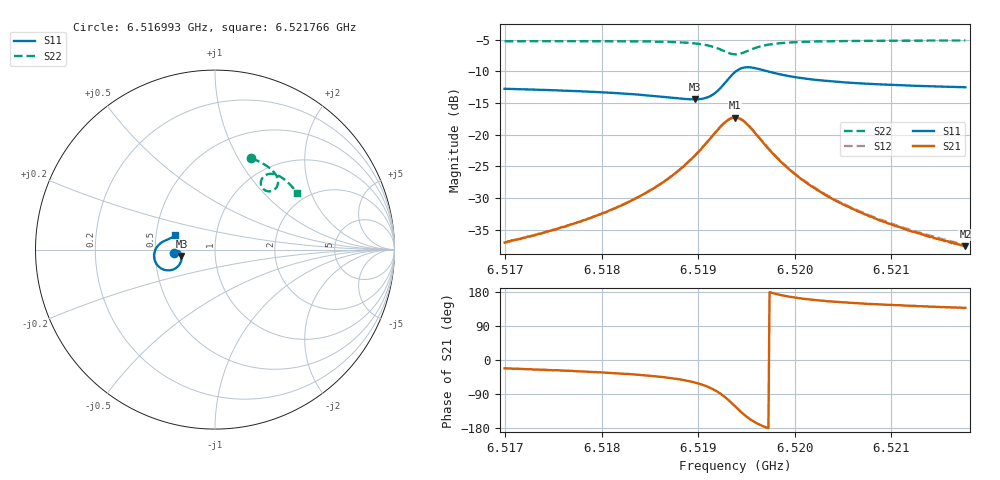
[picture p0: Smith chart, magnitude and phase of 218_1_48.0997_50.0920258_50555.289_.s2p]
#  HZ  S  RI  R  50.00
! Rohde & Schwarz Vector Network Analyzer
! Rohde-Schwarz,ZNB20-2Port,1311601062101988,3.16
! Created: UTC 12/23/2023, 3:56:27 AM
! freq[Hz]  re:S11  im:S11  re:S21  im:S21  re:S12  im:S12  re:S22  im:S22
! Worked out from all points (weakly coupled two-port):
!   401 points, 6.516993 GHz to 6.521766 GHz, reference 50 ohm
!   highest |S21| = -17.29 dB at 6.519379 GHz (marker M1); lowest = -37.6 dB at 6.521766 GHz (marker M2)
!   lowest |S11| = -14.4 dB at 6.518961 GHz (marker M3), VSWR 1.47, Z = 34.2 - j2.52 ohm
!   |S11| at or under -10 dB: start of sweep to 6.519387 GHz; 6.519724 GHz to end of sweep
!   |S22| runs from -7.3 to -5.1 dB; largest |S21 - S12| = 0.0043
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6.5169926e9  -0.2302 -0.0171  0.013 -0.0053  0.0133 -0.00495  0.2027 0.5094
6.5174102e9  -0.2257 -0.0112  0.0154 -0.00734  0.0155 -0.00694  0.2334 0.4965
6.5177921e9  -0.2202 -0.00665  0.0181 -0.0105  0.0183 -0.00988  0.2617 0.4822
6.5182216e9  -0.2118 -0.00469  0.0227 -0.0166  0.0232 -0.0158  0.294 0.4621
6.5185915e9  -0.2009 -0.00917  0.0289 -0.0279  0.0298 -0.0271  0.3226 0.4382
6.5187825e9  -0.1936 -0.0177  0.0327 -0.0393  0.0342 -0.0386  0.3373 0.4201
6.5189614e9  -0.187 -0.0355  0.0349 -0.0587  0.037 -0.058  0.3489 0.3956
6.5190688e9  -0.187 -0.0547  0.0316 -0.0774  0.0342 -0.0769  0.3513 0.3743
6.5191524e9  -0.194 -0.0763  0.0221 -0.0968  0.0251 -0.0968  0.3465 0.354
6.5192836e9  -0.2363 -0.112  -0.0212 -0.1251  -0.0177 -0.1266  0.3141 0.3259
6.5193791e9  -0.2935 -0.1083  -0.0723 -0.116  -0.0695 -0.1191  0.2747 0.3331
6.5194268e9  -0.3184 -0.0899  -0.0924 -0.0972  -0.0903 -0.1007  0.2607 0.349
6.5194865e9  -0.3358 -0.0588  -0.1046 -0.0681  -0.1035 -0.0718  0.2552 0.373
6.5195939e9  -0.3352 -0.00877  -0.0987 -0.0255  -0.0987 -0.0287  0.2695 0.4056
6.5196893e9  -0.3209 0.0181  -0.0832 -0.00485  -0.084 -0.00741  0.29 0.4185
6.519928e9  -0.2883 0.0452  -0.0531 0.0117  -0.0539 0.0103  0.3312 0.4199
6.5201786e9  -0.268 0.0547  -0.0363 0.0139  -0.0371 0.0131  0.36 0.4085
6.5203337e9  -0.2597 0.0581  -0.0298 0.0138  -0.0306 0.0131  0.3741 0.4
6.5205843e9  -0.2498 0.0623  -0.0228 0.0128  -0.0236 0.0122  0.393 0.3856
6.520978e9  -0.2386 0.0679  -0.0163 0.0112  -0.0169 0.011  0.4182 0.3624
6.5213002e9  -0.2319 0.0724  -0.013 0.0102  -0.0135 0.00994  0.4361 0.3427
6.5217656e9  -0.2239 0.0788  -0.00978 0.00885  -0.0102 0.00885  0.459 0.3139
